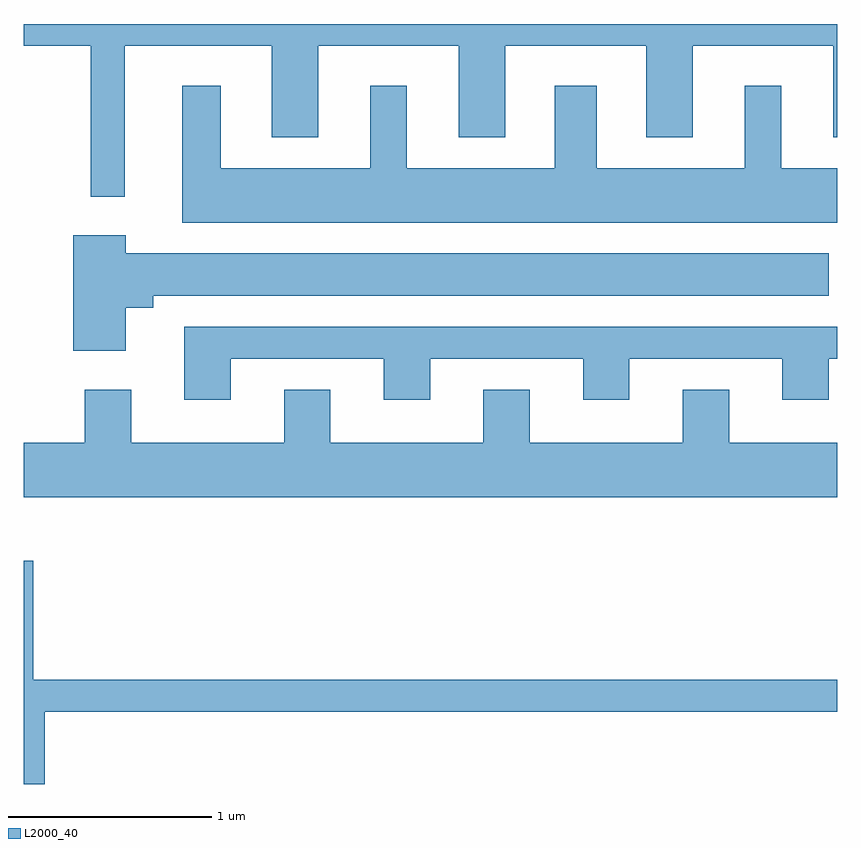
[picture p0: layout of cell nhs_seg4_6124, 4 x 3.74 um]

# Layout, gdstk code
import gdstk
lib = gdstk.Library(unit=1e-6, precision=1e-09)
def P(c, l, *ps):  # polygons
    for p in ps: c.add(gdstk.Polygon(p, *l))
L2000_40 = (2000, 40)

nhs_seg4_6124 = lib.new_cell('nhs_seg4_6124')
P(nhs_seg4_6124, L2000_40, [(366.109,1265.876),(366.831,1265.876),(366.831,1265.426),(367.059,1265.426),(367.059,1265.876),(367.751,1265.876),(367.751,1265.426),(367.979,1265.426),(367.979,1265.876),(368.671,1265.876),(368.671,1265.426),(368.899,1265.426),(368.899,1265.876),(369.591,1265.876),(369.591,1265.426),(369.611,1265.426),(369.611,1265.982),(365.611,1265.982),(365.611,1265.876),(365.941,1265.876),(365.941,1265.133),(366.109,1265.133)],
  [(369.611,1265.274),(369.334,1265.274),(369.334,1265.679),(369.156,1265.679),(369.156,1265.274),(368.429,1265.274),(368.429,1265.679),(368.221,1265.679),(368.221,1265.274),(367.494,1265.274),(367.494,1265.679),(367.316,1265.679),(367.316,1265.274),(366.579,1265.274),(366.579,1265.679),(366.391,1265.679),(366.391,1265.006),(369.611,1265.006)],
  [(366.114,1264.586),(366.249,1264.586),(366.249,1264.646),(369.569,1264.646),(369.569,1264.854),(366.114,1264.854),(366.114,1264.944),(365.856,1264.944),(365.856,1264.376),(366.114,1264.376)],
  [(366.629,1264.336),(367.381,1264.336),(367.381,1264.136),(367.609,1264.136),(367.609,1264.336),(368.361,1264.336),(368.361,1264.136),(368.589,1264.136),(368.589,1264.336),(369.341,1264.336),(369.341,1264.136),(369.569,1264.136),(369.569,1264.336),(369.611,1264.336),(369.611,1264.494),(366.401,1264.494),(366.401,1264.136),(366.629,1264.136)],
  [(369.611,1263.924),(369.079,1263.924),(369.079,1264.184),(368.851,1264.184),(368.851,1263.924),(368.099,1263.924),(368.099,1264.184),(367.871,1264.184),(367.871,1263.924),(367.119,1263.924),(367.119,1264.184),(366.891,1264.184),(366.891,1263.924),(366.139,1263.924),(366.139,1264.184),(365.911,1264.184),(365.911,1263.924),(365.611,1263.924),(365.611,1263.656),(369.611,1263.656)],
  [(365.714,1262.601),(369.611,1262.601),(369.611,1262.759),(365.659,1262.759),(365.659,1263.343),(365.611,1263.343),(365.611,1262.246),(365.714,1262.246)])

lib.write_gds('nhs_seg4_6124.gds')
